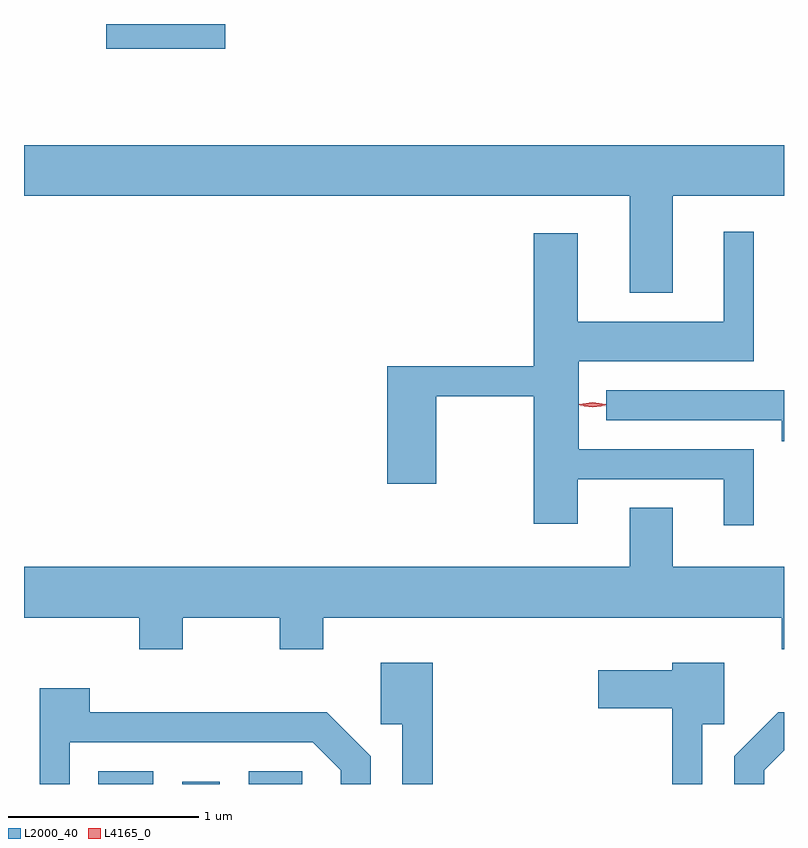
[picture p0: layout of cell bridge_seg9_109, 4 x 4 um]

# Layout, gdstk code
import gdstk
lib = gdstk.Library(unit=1e-6, precision=1e-09)
def R(c, l, rs):  # rectangles x0, y0, x1, y1
    for r in rs: c.add(gdstk.rectangle(r[:2], r[2:], *l))
def P(c, l, *ps):  # polygons
    for p in ps: c.add(gdstk.Polygon(p, *l))
L2000_40 = (2000, 40)
L4165_0 = (4165, 0)

bridge_seg9_109 = lib.new_cell('bridge_seg9_109')
R(bridge_seg9_109, L2000_40, [(1818.436,1973.181,1818.724,1973.249), (1818.876,1973.181,1819.074,1973.194), (1819.226,1973.181,1819.509,1973.249), (1818.476,1977.051,1819.104,1977.181)])
P(bridge_seg9_109, L2000_40, [(1821.459,1976.276),(1822.044,1976.276),(1822.044,1976.544),(1818.044,1976.544),(1818.044,1976.276),(1821.231,1976.276),(1821.231,1975.766),(1821.459,1975.766)],
  [(1821.884,1974.944),(1820.964,1974.944),(1820.964,1975.406),(1821.884,1975.406),(1821.884,1976.088),(1821.726,1976.088),(1821.726,1975.614),(1820.959,1975.614),(1820.959,1976.079),(1820.726,1976.079),(1820.726,1975.379),(1819.956,1975.379),(1819.956,1974.761),(1820.214,1974.761),(1820.214,1975.221),(1820.726,1975.221),(1820.726,1974.551),(1820.959,1974.551),(1820.959,1974.786),(1821.726,1974.786),(1821.726,1974.543),(1821.884,1974.543)],
  [(1822.044,1975.254),(1821.108,1975.254),(1821.108,1975.096),(1822.031,1975.096),(1822.031,1974.986),(1822.044,1974.986)],
  [(1818.879,1974.056),(1819.391,1974.056),(1819.391,1973.891),(1819.619,1973.891),(1819.619,1974.056),(1822.031,1974.056),(1822.031,1973.891),(1822.044,1973.891),(1822.044,1974.324),(1821.459,1974.324),(1821.459,1974.634),(1821.231,1974.634),(1821.231,1974.324),(1818.044,1974.324),(1818.044,1974.056),(1818.651,1974.056),(1818.651,1973.891),(1818.879,1973.891)],
  [(1821.614,1973.496),(1821.729,1973.496),(1821.729,1973.819),(1821.456,1973.819),(1821.456,1973.779),(1821.066,1973.779),(1821.066,1973.581),(1821.456,1973.581),(1821.456,1973.181),(1821.614,1973.181)],
  [(1820.194,1973.819),(1819.921,1973.819),(1819.921,1973.496),(1820.036,1973.496),(1820.036,1973.181),(1820.194,1973.181)],
  [(1818.284,1973.401),(1819.564,1973.401),(1819.711,1973.254),(1819.711,1973.181),(1819.869,1973.181),(1819.869,1973.327),(1819.637,1973.559),(1818.389,1973.559),(1818.389,1973.684),(1818.126,1973.684),(1818.126,1973.181),(1818.284,1973.181)],
  [(1821.939,1973.254),(1822.044,1973.358),(1822.044,1973.559),(1822.014,1973.559),(1821.781,1973.327),(1821.781,1973.181),(1821.939,1973.181)])
P(bridge_seg9_109, L4165_0, [(1821.036,1975.169),(1820.967,1975.178),(1820.967,1975.179),(1820.967,1975.179),(1821.037,1975.189),(1821.106,1975.179),(1821.106,1975.178),(1821.106,1975.178)],
  [(1821.037,1975.163),(1820.972,1975.172),(1820.972,1975.173),(1820.972,1975.173),(1821.037,1975.183),(1821.102,1975.173),(1821.103,1975.173),(1821.102,1975.172)])

lib.write_gds('bridge_seg9_109.gds')
